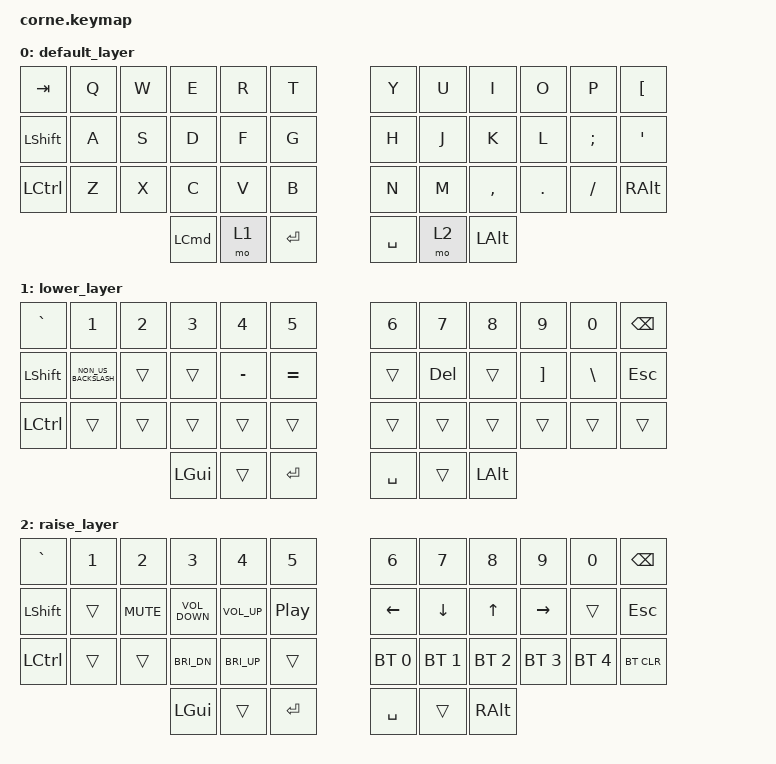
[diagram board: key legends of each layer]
/*
 * Copyright (c) 2020 The ZMK Contributors
 *
 * SPDX-License-Identifier: MIT
 */

#include <behaviors.dtsi>
#include <dt-bindings/zmk/bt.h>
#include <dt-bindings/zmk/keys.h>

&led_strip { chain-length = <27>; };

/ {
    macros {
        tilde: tilde {
            compatible = "zmk,behavior-macro";
            #binding-cells = <0>;
            bindings = <&tilde &kp TILDE>;
            label = "TILDE";
        };
    };

    keymap {
        compatible = "zmk,keymap";

        default_layer {
            // -----------------------------------------------------------------------------------------
            // |  TAB |  Q  |  W  |  E  |  R  |  T  |   |  Y  |  U   |  I  |  O  |  P  | BSPC |
            // | CTRL |  A  |  S  |  D  |  F  |  G  |   |  H  |  J   |  K  |  L  |  ;  |  '   |
            // | SHFT |  Z  |  X  |  C  |  V  |  B  |   |  N  |  M   |  ,  |  .  |  /  | ESC  |
            //                    | GUI | LWR | SPC |   | ENT | RSE  | ALT |

            bindings = <
&kp TAB         &kp Q  &kp W  &kp E     &kp R  &kp T        &kp Y      &kp U  &kp I         &kp O    &kp P     &kp LBKT
&kp LEFT_SHIFT  &kp A  &kp S  &kp D     &kp F  &kp G        &kp H      &kp J  &kp K         &kp L    &kp SEMI  &kp SQT
&kp LCTRL       &kp Z  &kp X  &kp C     &kp V  &kp B        &kp N      &kp M  &kp COMMA     &kp DOT  &kp FSLH  &kp RIGHT_ALT
                              &kp LCMD  &mo 1  &kp ENTER    &kp SPACE  &mo 2  &kp LEFT_ALT
            >;
        };

        lower_layer {
            // -----------------------------------------------------------------------------------------
            // |  TAB |  1  |  2  |  3  |  4  |  5  |   |  6  |  7  |  8  |  9  |  0  | BSPC |
            // | BTCLR| BT1 | BT2 | BT3 | BT4 | BT5 |   | LFT | DWN |  UP | RGT |     |      |
            // | SHFT |     |     |     |     |     |   |     |     |     |     |     |      |
            //                    | GUI |     | SPC |   | ENT |     | ALT |

            bindings = <
&kp GRAVE       &kp N1                &kp N2  &kp N3    &kp N4     &kp N5       &kp N6     &kp N7      &kp N8        &kp N9             &kp N0         &kp BSPC
&kp LEFT_SHIFT  &kp NON_US_BACKSLASH  &trans  &trans    &kp MINUS  &kp EQUAL    &trans     &kp DELETE  &trans        &kp RIGHT_BRACKET  &kp BACKSLASH  &kp ESCAPE
&kp LCTRL       &trans                &trans  &trans    &trans     &trans       &trans     &trans      &trans        &trans             &trans         &trans
                                              &kp LGUI  &trans     &kp ENTER    &kp SPACE  &trans      &kp LEFT_ALT
            >;
        };

        raise_layer {
            // -----------------------------------------------------------------------------------------
            // |  TAB |  !  |  @  |  #  |  $  |  %  |   |  ^  |  &  |  *  |  (  |  )  | BSPC |
            // | CTRL |     |     |     |     |     |   |  -  |  =  |  [  |  ]  |  \  |  `   |
            // | SHFT |     |     |     |     |     |   |  _  |  +  |  {  |  }  | "|" |  ~   |
            //                    | GUI |     | SPC |   | ENT |     | ALT |

            bindings = <
&kp GRAVE       &kp NUMBER_1  &kp NUMBER_2  &kp NUMBER_3       &kp NUMBER_4     &kp N5              &kp NUMBER_6    &kp N7          &kp N8        &kp N9        &kp N0        &kp BSPC
&kp LEFT_SHIFT  &trans        &kp C_MUTE    &kp C_VOLUME_DOWN  &kp C_VOLUME_UP  &kp C_PLAY_PAUSE    &kp LEFT_ARROW  &kp DOWN_ARROW  &kp UP_ARROW  &kp RIGHT     &trans        &kp ESCAPE
&kp LCTRL       &trans        &trans        &kp C_BRI_DN       &kp C_BRI_UP     &trans              &bt BT_SEL 0    &bt BT_SEL 1    &bt BT_SEL 2  &bt BT_SEL 3  &bt BT_SEL 4  &bt BT_CLR
                                            &kp LGUI           &trans           &kp ENTER           &kp SPACE       &trans          &kp RALT
            >;
        };
    };
};
